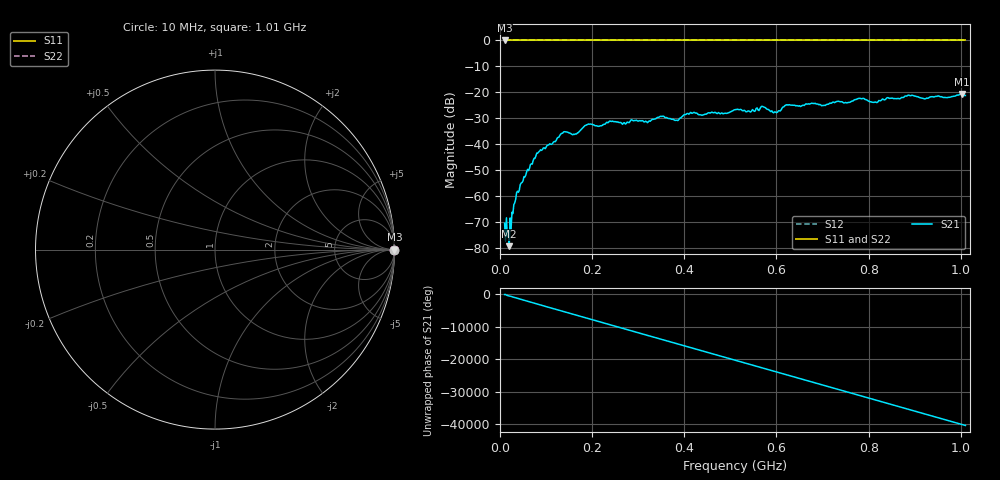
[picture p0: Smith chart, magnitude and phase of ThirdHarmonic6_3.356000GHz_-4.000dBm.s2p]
! 8/17/2025 10:36:18 AM
! C:\ANRITSUVNA\TEMP\TEMP.S2P
! CHANNEL.1
! TR.MEASUREMENT
! RAW.DATA
! RF.CORRECTION.OFF
! AVERAGING.OFF
! IF.BANDWIDTH: 5KHZ
! SWEEPTYPE:  FREQ.SWEEP(Linear)
! Reference Plane Port Info
! PORT:  PORT1  PORT2
! DISTANCE:  0  m  0  m
! TIME:  0  s  0  s
! PHASE.OFFSET:  0  deg.  0  deg.
! LOSS:  0  dB  0  dB
! REF.LOSS:  0  dB  0  dB
! REF.FREQ:  0  Hz  0  Hz
! Power Info
! POWER:  -20  dBm  -20  dBm
! EFF.POWER:  -20  dBm  -20  dBm
! SOURCE.ATTEN:  0  dB  0  dB
! TEST.ATTEN:  0  dB  0  dB
# GHZ S RI R 50.0
! FREQ.GHZ  S11RE  S11IM  S21RE  S21IM  S12RE  S12IM  S22RE  S22IM
!; PortSelection: Port_12
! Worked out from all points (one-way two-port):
!   501 points, 10 MHz to 1.01 GHz, reference 50 ohm
!   highest |S21| = -20.59 dB at 1.002 GHz (marker M1); lowest = -79.2 dB at 20 MHz (marker M2)
!   lowest |S11| = 0.0 dB at 10 MHz (marker M3)
!   |S11| at or under -10 dB: nowhere
!   |S22| runs from 0.0 to 0.0 dB; largest |S21 - S12| = 1.1
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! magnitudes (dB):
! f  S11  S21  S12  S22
! 10 MHz  0.0  -70.3  0.0  0.0
! 16 MHz  0.0  -75.6  0.0  0.0
! 18 MHz  0.0  -74.0  0.0  0.0
! 20 MHz  0.0  -79.2  0.0  0.0
! 30 MHz  0.0  -63.2  0.0  0.0
! 40 MHz  0.0  -58.4  0.0  0.0
! 82 MHz  0.0  -43.3  0.0  0.0
! 136 MHz  0.0  -35.7  0.0  0.0
! 162 MHz  0.0  -36.2  0.0  0.0
! 178 MHz  0.0  -33.9  0.0  0.0
! 194 MHz  0.0  -32.2  0.0  0.0
! 344 MHz  0.0  -29.6  0.0  0.0
! 384 MHz  0.0  -30.7  0.0  0.0
! 410 MHz  0.0  -28.4  0.0  0.0
! 510 MHz  0.0  -26.7  0.0  0.0
! 570 MHz  0.0  -25.4  0.0  0.0
! 598 MHz  0.0  -27.6  0.0  0.0
! 622 MHz  0.0  -24.8  0.0  0.0
! 678 MHz  0.0  -24.2  0.0  0.0
! 844 MHz  0.0  -22.2  0.0  0.0
! 1.002 GHz  0.0  -20.6  0.0  0.0
! 1.01 GHz  0.0  -21.2  0.0  0.0
